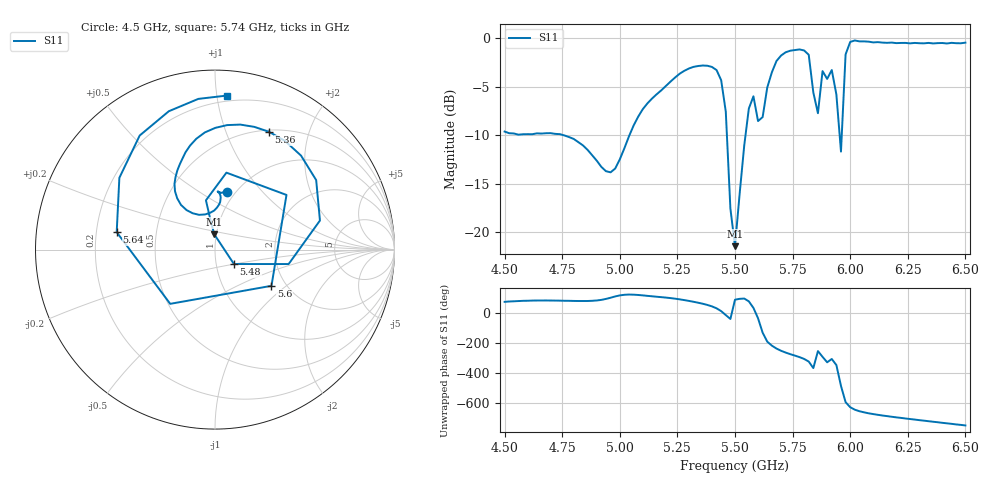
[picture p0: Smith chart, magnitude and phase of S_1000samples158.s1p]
! TOUCHSTONE file generated by CST MICROWAVE STUDIO
! Date and time: Thu Oct 27 04:54:51 2022
! Project name: L.cst
! Parameters = {Di=1.27; Epsilon_r=1.56; InnerDiameter=1.27; Length=2; Lf=10; Lg=60; OuterConductorThickness=0.2921; OuterDiameter=3.6; Wf=3; Wp=41.2; de=1.5; df=6.8; g=0.8; gx=1.59662; gy=1.85436; h=2.34; hf=1.524; px=14.5383; py=14.9021; w=9.7; wx=12.9416; wy=13.0477}
! Header version: 2018
! Port assignment regex: !\s*Touchstone port\s*([0-9]+)\s*=\s*(CST MWS port|CST DS port)\s*([0-9]+|Zmin|Zmax)\s*\(\"(.*)\"\)(\s*mode\s*([0-9]+))?.*
! Touchstone port assignment:
! Touchstone port 1 = CST MWS port 1 ("")
# GHz S DB R 50
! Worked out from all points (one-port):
!   101 points, 4.5 GHz to 6.5 GHz, reference 50 ohm
!   lowest |S11| = -21.4 dB at 5.5 GHz (marker M1), VSWR 1.19, Z = 48.9 + j8.36 ohm
!   |S11| at or under -10 dB: 4.756 GHz to 5.042 GHz (286.3 MHz wide, 5.84 % of centre); 5.465 GHz to 5.546 GHz (80.79 MHz wide, 1.47 % of centre); 5.95426 GHz to 5.963376 GHz (9.115 MHz wide, 0.153 % of centre)
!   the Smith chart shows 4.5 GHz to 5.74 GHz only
!   S11 on the Smith chart (normalised r, x): 4.5 GHz: 0.92, +0.66; 5.36 GHz: 0.52, +1.43; 5.48 GHz: 1.22, -0.20; 5.6 GHz: 1.69, -0.79; 5.64 GHz: 0.29, +0.08; 5.74 GHz: 0.16, +1.07
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4.5  -9.63 78.1
4.76  -10.03 85.4
5  -12.49 121.5
5.26  -3.67 94.9
5.36  -2.83 65.3
5.44  -4.34 15.5
5.48  -17.55 -37.3
5.5  -21.42 92.5
5.56  -7.26 81.6
5.6  -8.55 -32.7
5.62  -8.14 -129.6
5.64  -5.09 169.9
5.68  -2.37 123.4
5.74  -1.30 85.6
5.76  -1.24 75.9
5.82  -1.72 35.8
5.84  -5.61 -8.0
5.86  -7.74 106.3
5.88  -3.40 67.6
5.9  -4.21 30.8
5.92  -3.29 53.2
5.94  -5.81 12.3
5.96  -11.69 -128.2
5.98  -1.68 122.4
6  -0.40 88.4
6.08  -0.37 47.3
6.26  -0.55 8.7
6.5  -0.47 -34.6
